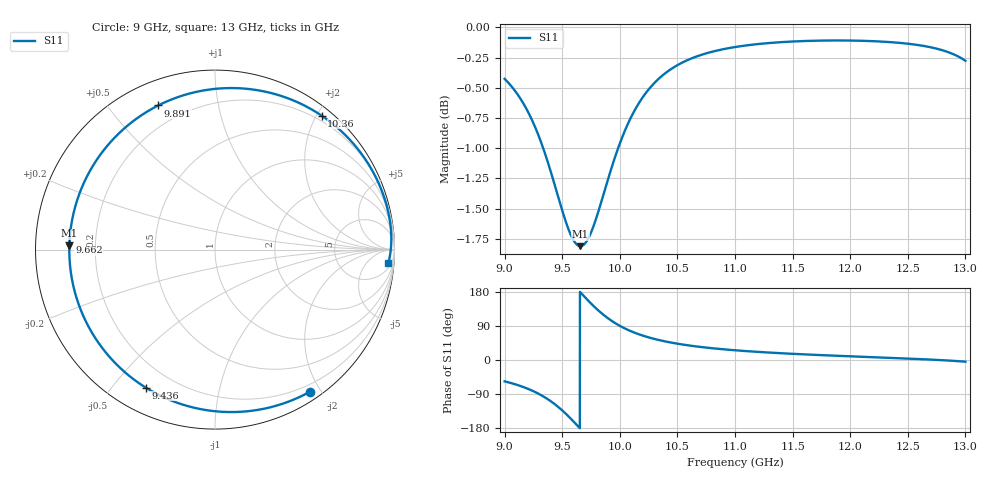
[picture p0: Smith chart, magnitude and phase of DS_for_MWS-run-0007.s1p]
! TOUCHSTONE file generated by CST DESIGN STUDIO
! Date and time: Tue Feb  4 18:12:25 2025
! Project name: C:\Work\MatlabApps\UnitCellOptimizationMatlab\CST\unitcell.cst
! Tree item: Tasks\Sweep1\SPara1\S-Parameters
! Header version: 2024
! Port assignment regex: !\s*Touchstone port\s*([0-9]+)\s*=\s*(CST MWS port|CST DES external port|CST DES block port)\s*(.+)\s* \(\"(.*)\"\)(\s*mode\s*([0-9]+))?.*
! Touchstone port assignment:
! Touchstone port 1 = CST DES external port 1 ("")
# GHz S MA R 50
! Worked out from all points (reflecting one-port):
!   4001 points, 9 GHz to 13 GHz, reference 50 ohm
!   lowest |S11| = -1.8 dB at 9.658 GHz (marker M1), VSWR 9.62, Z = 5.2 + j0.679 ohm
!   phase of S11 starts at -56 deg and turns -308 deg over the sweep
!   S11 on the Smith chart (normalised r, x): 9 GHz: 0.11, -1.86; 9.436 GHz: 0.10, -0.61; 9.662 GHz: 0.10, +0.02; 9.891 GHz: 0.11, +0.68; 10.36 GHz: 0.12, +2.07; 13 GHz: 9, -22
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9  0.9521 -56.3
9.14  0.9339 -68.8
9.273  0.9074 -85.7
9.36  0.884 -100.5
9.436  0.8602 -116.7
9.5  0.8399 -133.0
9.541  0.8283 -144.6
9.585  0.8186 -158.0
9.622  0.8135 -169.9
9.658  0.8118 178.4
9.662  0.8118 177.1
9.72  0.8167 158.4
9.784  0.8306 139.0
9.837  0.8461 124.6
9.891  0.8631 111.5
9.943  0.8791 100.5
10  0.8952 90.2
10.082  0.9147 77.9
10.166  0.9304 67.8
10.257  0.9434 59.1
10.357  0.954 51.5
10.5  0.9646 43.0
10.719  0.9746 33.8
11  0.9814 25.7
11.5  0.9866 16.3
12  0.9875 9.7
12.5  0.9846 3.8
13  0.9687 -4.5
